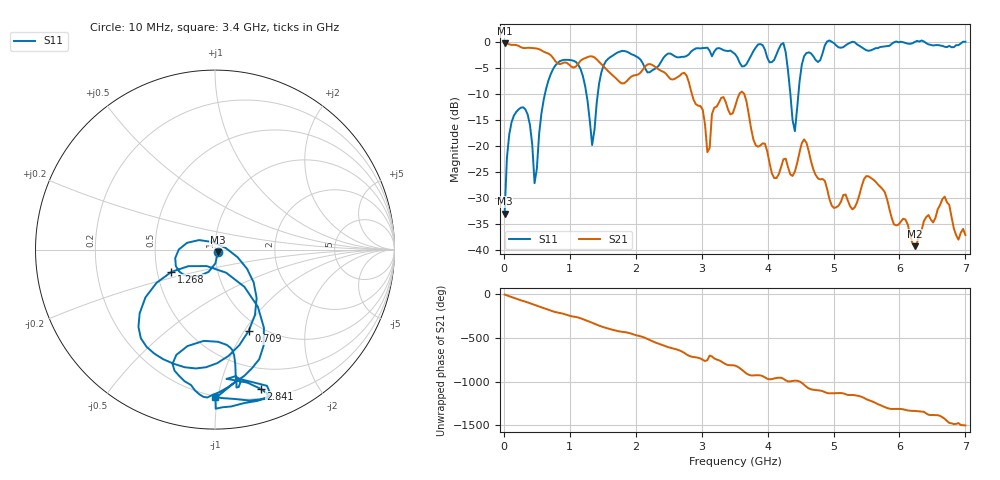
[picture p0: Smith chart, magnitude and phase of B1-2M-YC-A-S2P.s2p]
!File created by NanoVNA
# Hz S RI R 50
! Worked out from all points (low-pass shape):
!   201 points, 10 MHz to 7 GHz, reference 50 ohm
!   highest |S21| = -0.19 dB at 10 MHz (marker M1); lowest = -39.2 dB at 6.231 GHz (marker M2)
!   |S21| within 3 dB of the highest: start of sweep to 754.2 MHz; 1.209 GHz to 1.397 GHz (187.3 MHz wide, 14.4 % of centre)
!   lowest |S11| = -33.0 dB at 10 MHz (marker M3), VSWR 1.05, Z = 51.7 - j1.57 ohm
!   |S11| at or under -10 dB: start of sweep to 621.2 MHz; 1.252 GHz to 1.423 GHz (171.5 MHz wide, 12.8 % of centre); 4.345 GHz to 4.467 GHz (121.7 MHz wide, 2.76 % of centre)
!   S12 and S22 are empty: the file has one direction only
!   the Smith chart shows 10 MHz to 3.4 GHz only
!   S11 on the Smith chart (normalised r, x): 10 MHz: 1.03, -0.03; 709 MHz: 0.88, -1.05; 1.268 GHz: 0.59, -0.16; 2.841 GHz: 0.29, -1.34; 3.4 GHz: 0.20, -0.98
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1e7  0.0166 -0.0152  0.9775 -0.0508  0 0  0 0
1.1485e8  -0.0854 -0.1463  0.8084 -0.4832  0 0  0 0
3.595e8  -0.2018 0.000349  -0.0449 -0.8825  0 0  0 0
4.6435e8  -0.0129 0.0422  -0.4411 -0.7549  0 0  0 0
7.09e8  0.1873 -0.454  -0.7466 0.0836  0 0  0 0
1.1983e9  -0.3874 -0.2662  0.1722 0.6665  0 0  0 0
1.2682e9  -0.2428 -0.1242  0.4018 0.5957  0 0  0 0
1.4779e9  0.2727 -0.436  0.6098 -0.0847  0 0  0 0
1.93225e9  -0.1337 -0.7544  0.000784 -0.4677  0 0  0 0
2.35165e9  0.1068 -0.5895  -0.4903 0.2377  0 0  0 0
2.84095e9  0.2541 -0.7756  0.3311 0.0452  0 0  0 0
3.0856e9  0.00376 -0.8866  0.074 -0.0469  0 0  0 0
3.40015e9  0.00118 -0.8208  0.00479 -0.2243  0 0  0 0
3.505e9  0.0845 -0.7646  -0.0197 -0.2379  0 0  0 0
4.23895e9  0.5142 -0.8339  -0.0311 0.068  0 0  0 0
4.4137e9  0.0753 -0.1173  -0.00254 0.057  0 0  0 0
4.5535e9  0.393 -0.6195  0.0812 0.0831  0 0  0 0
4.6933e9  0.7267 -0.0853  0.0585 -0.0119  0 0  0 0
4.903e9  0.7747 -0.6585  0.0255 -0.0291  0 0  0 0
5.84665e9  0.8795 -0.2747  -0.0168 0.0185  0 0  0 0
6.2311e9  0.9386 -0.3582  -0.00317 0.0105  0 0  0 0
7e9  1.01 -0.00606  0.0071 -0.012  0 0  0 0
